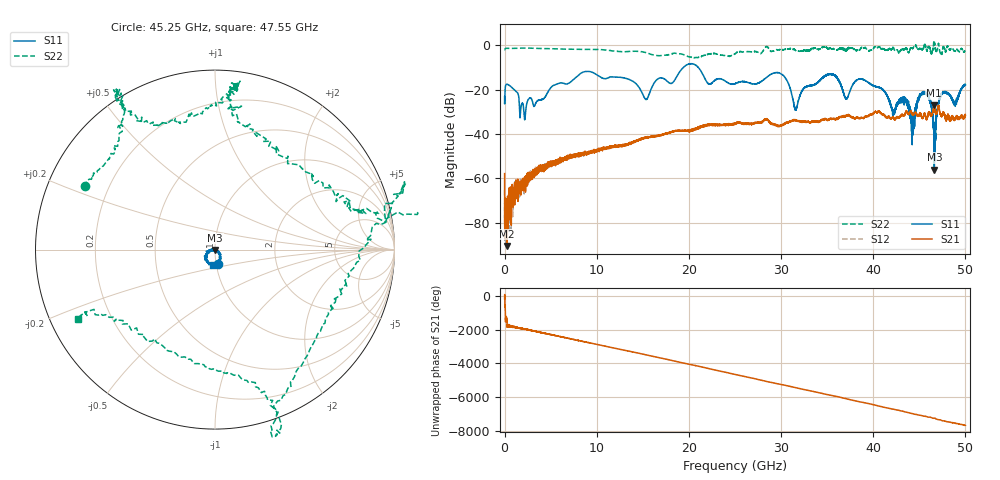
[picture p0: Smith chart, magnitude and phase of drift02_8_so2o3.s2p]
!Created with skrf (http://scikit-rf.org).
# Hz S RI R 50.0
!freq ReS11 ImS11 ReS21 ImS21 ReS12 ImS12 ReS22 ImS22
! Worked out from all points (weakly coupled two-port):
!   10001 points, 300 kHz to 50 GHz, reference 50 ohm
!   highest |S21| = -27.05 dB at 46.58 GHz (marker M1); lowest = -90.4 dB at 280.3 MHz (marker M2)
!   lowest |S11| = -56.0 dB at 46.63 GHz (marker M3), VSWR 1.00, Z = 50.1 - j0.142 ohm
!   |S11| at or under -10 dB: start of sweep to 19.41 GHz; 21 GHz to end of sweep
!   |S22| runs from -5.7 to 2.1 dB; largest |S21 - S12| = 0.0035
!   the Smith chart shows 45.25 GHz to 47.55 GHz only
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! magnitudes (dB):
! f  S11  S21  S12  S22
! 300 kHz  -23.2  -57.8  -65.3  -2.1
! 280.3 MHz  -17.6  -90.4  -83.9  -1.4
! 2.185 GHz  -33.6  -62.2  -61.6  -1.3
! 8.335 GHz  -12.5  -49.7  -48.7  -1.9
! 15.34 GHz  -24.4  -41.5  -41.6  -3.4
! 16.67 GHz  -15.1  -40.6  -40.8  -4.7
! 20.29 GHz  -8.4  -38.6  -38.4  -5.5
! 25 GHz  -17.3  -35.3  -35.5  -3.9
! 29.85 GHz  -12.6  -36.2  -36.4  -2.0
! 31.59 GHz  -29.1  -33.8  -34.1  -2.4
! 33.34 GHz  -18.0  -34.4  -34.4  -1.5
! 35.59 GHz  -13.2  -33.3  -33.2  -1.6
! 37.1 GHz  -24.2  -31.7  -31.7  -2.3
! 38.75 GHz  -15.3  -32.6  -32.7  -1.1
! 41.67 GHz  -24.2  -32.1  -32.2  -1.9
! 43.46 GHz  -25.2  -30.9  -31.0  -1.8
! 44.27 GHz  -34.6  -31.3  -31.3  -1.6
! 45.69 GHz  -21.9  -32.3  -32.2  -0.6
! 46.58 GHz  -42.1  -27.0  -26.9  1.5
! 46.63 GHz  -56.0  -27.5  -27.2  1.5
! 47.47 GHz  -21.9  -31.6  -31.6  -3.4
! 50 GHz  -17.8  -31.5  -31.6  -2.6
